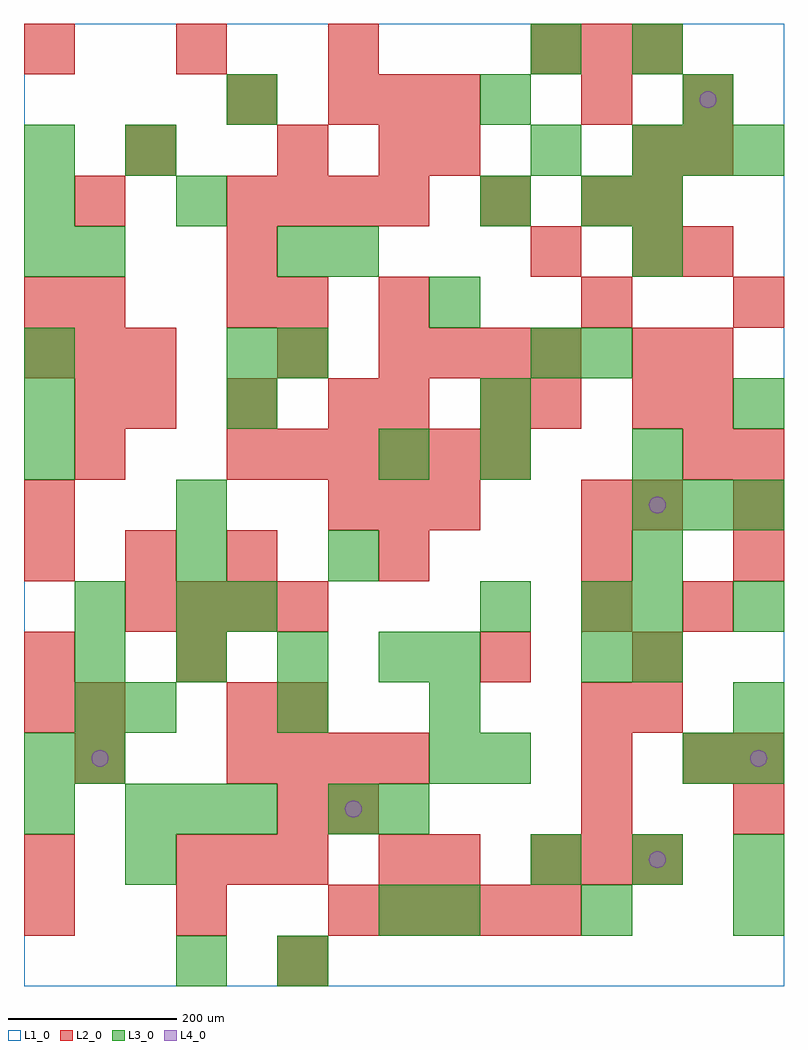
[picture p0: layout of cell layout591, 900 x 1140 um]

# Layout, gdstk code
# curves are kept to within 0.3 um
import gdstk
lib = gdstk.Library(unit=1e-6, precision=1e-09)
def R(c, l, rs):  # rectangles x0, y0, x1, y1
    for r in rs: c.add(gdstk.rectangle(r[:2], r[2:], *l))
def A(c, l, x, y, w, h, nx, ny, dx, dy):  # array of equal rectangles
    R(c, l, [(x+i*dx, y+j*dy, x+i*dx+w, y+j*dy+h) for i in range(nx) for j in range(ny)])
def P(c, l, *ps):  # polygons
    for p in ps: c.add(gdstk.Polygon(p, *l))
L1_0 = (1, 0)
L2_0 = (2, 0)
L3_0 = (3, 0)
L4_0 = (4, 0)

layout591 = lib.new_cell('layout591')
R(layout591, L1_0, [(0,0,900,1140)])
A(layout591, L2_0, 0, 60, 60, 60, 3, 2, 180, 1020)
A(layout591, L2_0, 420, 60, 60, 60, 4, 2, 60, 660)
A(layout591, L2_0, 180, 120, 60, 60, 3, 1, 60, 0)
A(layout591, L2_0, 600, 120, 60, 60, 3, 2, 60, 960)
A(layout591, L2_0, 660, 180, 60, 60, 1, 3, 0, 60)
A(layout591, L2_0, 240, 240, 60, 60, 4, 2, 60, 660)
A(layout591, L2_0, 780, 240, 60, 60, 1, 3, 0, 180)
A(layout591, L2_0, 120, 420, 60, 60, 4, 1, 60, 0)
A(layout591, L2_0, 660, 420, 60, 60, 1, 3, 0, 60)
A(layout591, L2_0, 0, 480, 60, 60, 3, 1, 120, 0)
A(layout591, L2_0, 840, 480, 60, 60, 1, 3, 0, 60)
A(layout591, L2_0, 360, 540, 60, 60, 3, 2, 60, 480)
A(layout591, L2_0, 240, 600, 60, 60, 6, 1, 60, 0)
A(layout591, L2_0, 60, 660, 60, 60, 1, 3, 0, 120)
A(layout591, L2_0, 120, 660, 60, 60, 3, 1, 120, 0)
A(layout591, L2_0, 0, 720, 60, 60, 3, 1, 60, 0)
A(layout591, L2_0, 780, 720, 60, 60, 1, 3, 0, 120)
A(layout591, L2_0, 660, 780, 60, 60, 1, 3, 0, 120)
A(layout591, L2_0, 720, 840, 60, 60, 1, 3, 0, 60)
R(layout591, L2_0, [(300,0,360,60), (0,120,60,180), (420,120,480,180), (480,120,540,180), (300,180,360,240), (360,180,420,240), (840,180,900,240), (60,240,120,300), (840,240,900,300), (0,300,60,360), (60,300,120,360), (240,300,300,360), (300,300,360,360), (720,300,780,360), (0,360,60,420), (180,360,240,420), (540,360,600,420), (720,360,780,420), (420,480,480,540), (0,540,60,600), (720,540,780,600), (60,600,120,660), (420,660,480,720), (540,660,600,720), (600,660,660,720), (720,660,780,720), (780,660,840,720), (300,720,360,780), (720,720,780,780), (0,780,60,840), (240,780,300,840), (300,780,360,840), (420,780,480,840), (840,780,900,840), (240,840,300,900), (600,840,660,900), (540,900,600,960), (120,960,180,1020), (300,960,360,1020), (420,960,480,1020), (480,960,540,1020), (240,1020,300,1080), (780,1020,840,1080)])
A(layout591, L3_0, 480, 60, 60, 60, 3, 1, 180, 0)
A(layout591, L3_0, 600, 120, 60, 60, 3, 1, 120, 0)
A(layout591, L3_0, 120, 180, 60, 60, 3, 1, 60, 0)
A(layout591, L3_0, 540, 240, 60, 60, 1, 3, 0, 180)
A(layout591, L3_0, 120, 300, 60, 60, 3, 1, 180, 0)
A(layout591, L3_0, 60, 360, 60, 60, 4, 1, 120, 0)
A(layout591, L3_0, 720, 360, 60, 60, 1, 3, 0, 60)
A(layout591, L3_0, 180, 420, 60, 60, 1, 3, 0, 60)
A(layout591, L3_0, 240, 420, 60, 60, 1, 3, 0, 300)
A(layout591, L3_0, 720, 540, 60, 60, 3, 2, 60, 420)
A(layout591, L3_0, 0, 600, 60, 60, 1, 3, 0, 60)
A(layout591, L3_0, 240, 660, 60, 60, 3, 1, 300, 0)
A(layout591, L3_0, 0, 840, 60, 60, 1, 3, 0, 60)
R(layout591, L3_0, [(180,0,240,60), (300,0,360,60), (420,60,480,120), (120,120,180,180), (0,180,60,240), (360,180,420,240), (420,180,480,240), (0,240,60,300), (60,240,120,300), (480,240,540,300), (780,240,840,300), (840,240,900,300), (60,300,120,360), (840,300,900,360), (480,360,540,420), (660,360,720,420), (60,420,120,480), (660,420,720,480), (840,420,900,480), (360,480,420,540), (420,600,480,660), (720,600,780,660), (300,720,360,780), (600,720,660,780), (660,720,720,780), (480,780,540,840), (60,840,120,900), (300,840,360,900), (360,840,420,900), (720,840,780,900), (180,900,240,960), (540,900,600,960), (660,900,720,960), (720,900,780,960), (120,960,180,1020), (600,960,660,1020), (540,1020,600,1080), (780,1020,840,1080), (600,1080,660,1140), (720,1080,780,1140)])
P(layout591, L4_0, [(100,270),(99.239,273.827),(97.071,277.071),(93.827,279.239),(90,280),(86.173,279.239),(82.929,277.071),(80.761,273.827),(80,270),(80.761,266.173),(82.929,262.929),(86.173,260.761),(90,260),(93.827,260.761),(97.071,262.929),(99.239,266.173)],
  [(400,210),(399.239,213.827),(397.071,217.071),(393.827,219.239),(390,220),(386.173,219.239),(382.929,217.071),(380.761,213.827),(380,210),(380.761,206.173),(382.929,202.929),(386.173,200.761),(390,200),(393.827,200.761),(397.071,202.929),(399.239,206.173)],
  [(760,150),(759.239,153.827),(757.071,157.071),(753.827,159.239),(750,160),(746.173,159.239),(742.929,157.071),(740.761,153.827),(740,150),(740.761,146.173),(742.929,142.929),(746.173,140.761),(750,140),(753.827,140.761),(757.071,142.929),(759.239,146.173)],
  [(760,570),(759.239,573.827),(757.071,577.071),(753.827,579.239),(750,580),(746.173,579.239),(742.929,577.071),(740.761,573.827),(740,570),(740.761,566.173),(742.929,562.929),(746.173,560.761),(750,560),(753.827,560.761),(757.071,562.929),(759.239,566.173)],
  [(820,1050),(819.239,1053.827),(817.071,1057.071),(813.827,1059.239),(810,1060),(806.173,1059.239),(802.929,1057.071),(800.761,1053.827),(800,1050),(800.761,1046.173),(802.929,1042.929),(806.173,1040.761),(810,1040),(813.827,1040.761),(817.071,1042.929),(819.239,1046.173)],
  [(880,270),(879.239,273.827),(877.071,277.071),(873.827,279.239),(870,280),(866.173,279.239),(862.929,277.071),(860.761,273.827),(860,270),(860.761,266.173),(862.929,262.929),(866.173,260.761),(870,260),(873.827,260.761),(877.071,262.929),(879.239,266.173)])

lib.write_gds('layout591.gds')
